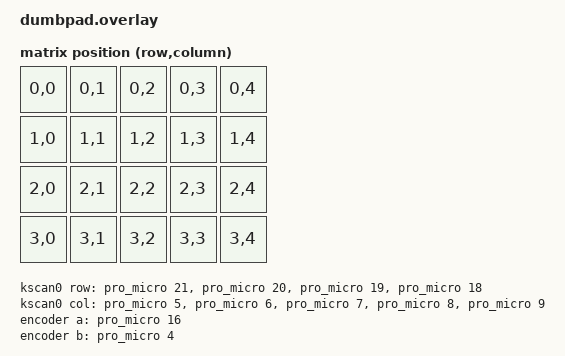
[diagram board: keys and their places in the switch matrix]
#include <dt-bindings/zmk/matrix_transform.h>
#include "dumbpad-layouts.dtsi"
#include <dt-bindings/led/led.h>
#include <dt-bindings/pinctrl/nrf-pinctrl.h>

/ {
    chosen {
        zmk,kscan = &kscan0;
        zmk,physical-layout = &default_layout;
        zmk,underglow = &led_strip;
    };

    default_transform: keymap_transform_0 {
        compatible = "zmk,matrix-transform";
        columns = <5>;
        rows = <4>;
        map = <
            RC(0,0) RC(0,1) RC(0,2) RC(0,3) RC(0,4)
            RC(1,0) RC(1,1) RC(1,2) RC(1,3) RC(1,4)
            RC(2,0) RC(2,1) RC(2,2) RC(2,3) RC(2,4)
            RC(3,0) RC(3,1) RC(3,2) RC(3,3) RC(3,4)
        >;
    };

    kscan0: kscan_0 {
        compatible = "zmk,kscan-gpio-matrix";
        diode-direction = "col2row";
        wakeup-source;

        col-gpios
            = <&pro_micro 5 GPIO_ACTIVE_HIGH>
            , <&pro_micro 6 GPIO_ACTIVE_HIGH>
            , <&pro_micro 7 GPIO_ACTIVE_HIGH>
            , <&pro_micro 8 GPIO_ACTIVE_HIGH>
            , <&pro_micro 9 GPIO_ACTIVE_HIGH>
            ;

        row-gpios
            = <&pro_micro 21 (GPIO_ACTIVE_HIGH | GPIO_PULL_DOWN)>
            , <&pro_micro 20 (GPIO_ACTIVE_HIGH | GPIO_PULL_DOWN)>
            , <&pro_micro 19 (GPIO_ACTIVE_HIGH | GPIO_PULL_DOWN)>
            , <&pro_micro 18 (GPIO_ACTIVE_HIGH | GPIO_PULL_DOWN)>
            ;
    };

    encoder: encoder {
        compatible = "alps,ec11";
        a-gpios = <&pro_micro 16 (GPIO_ACTIVE_HIGH | GPIO_PULL_UP)>;
        b-gpios = <&pro_micro 4 (GPIO_ACTIVE_HIGH | GPIO_PULL_UP)>;
        steps = <24>;
        status = "okay";
    };

    sensors: sensors {
        compatible = "zmk,keymap-sensors";
        sensors = <&encoder>;
        triggers-per-rotation = <24>;
    };
};

&pinctrl {
    spi3_default: spi3_default {
        group1 {
            psels = <NRF_PSEL(SPIM_MOSI, 0, 17)>;
        };
    };

    spi3_sleep: spi3_sleep {
        group1 {
            psels = <NRF_PSEL(SPIM_MOSI, 0, 17)>;
            low-power-enable;
        };
    };
};

&spi3 {
    compatible = "nordic,nrf-spim";
    status = "okay";
    pinctrl-0 = <&spi3_default>;
    pinctrl-1 = <&spi3_sleep>;
    pinctrl-names = "default", "sleep";

    led_strip: ws2812@0 {
        compatible = "worldsemi,ws2812-spi";
        reg = <0>;
        spi-max-frequency = <4000000>;
        chain-length = <16>;
        color-mapping = <LED_COLOR_ID_GREEN LED_COLOR_ID_RED LED_COLOR_ID_BLUE>;
        spi-one-frame = <0x70>;
        spi-zero-frame = <0x40>;
    };
};

&i2c0 { status = "disabled"; };
&spi0 { status = "disabled"; };
&uart0 { status = "disabled"; };
